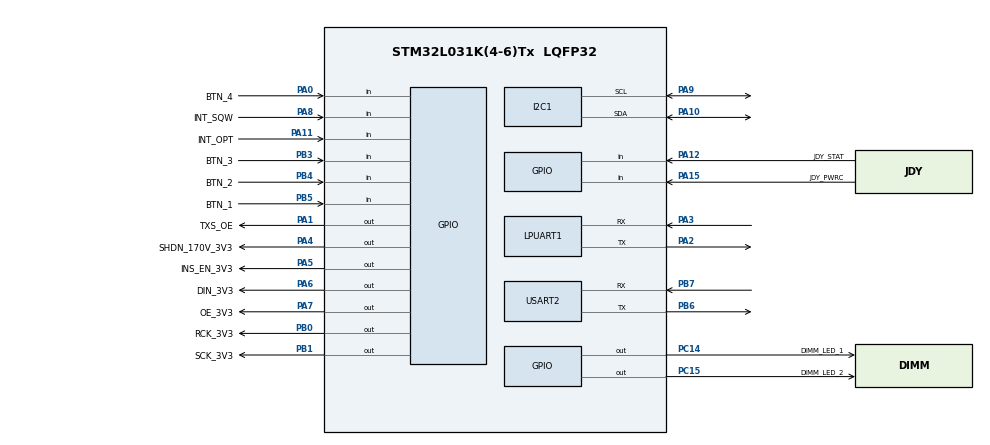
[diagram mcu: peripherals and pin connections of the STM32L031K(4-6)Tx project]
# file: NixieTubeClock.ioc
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Dma.Request0=TIM2_CH1
Dma.Request1=TIM2_CH2
Dma.Request2=TIM2_CH3
Dma.Request3=TIM2_CH4
Dma.TIM2_CH1.0.Direction=DMA_MEMORY_TO_PERIPH
Dma.TIM2_CH1.0.Instance=DMA1_Channel5
Dma.TIM2_CH1.0.MemDataAlignment=DMA_MDATAALIGN_BYTE
Dma.TIM2_CH1.0.MemInc=DMA_MINC_DISABLE
Dma.TIM2_CH1.0.Mode=DMA_CIRCULAR
Dma.TIM2_CH1.0.PeriphDataAlignment=DMA_PDATAALIGN_HALFWORD
Dma.TIM2_CH1.0.PeriphInc=DMA_PINC_DISABLE
Dma.TIM2_CH1.0.Priority=DMA_PRIORITY_LOW
Dma.TIM2_CH2.1.Direction=DMA_MEMORY_TO_PERIPH
Dma.TIM2_CH2.1.Instance=DMA1_Channel3
Dma.TIM2_CH2.1.MemDataAlignment=DMA_MDATAALIGN_BYTE
Dma.TIM2_CH2.1.MemInc=DMA_MINC_DISABLE
Dma.TIM2_CH2.1.Mode=DMA_CIRCULAR
Dma.TIM2_CH2.1.PeriphDataAlignment=DMA_PDATAALIGN_HALFWORD
Dma.TIM2_CH2.1.PeriphInc=DMA_PINC_DISABLE
Dma.TIM2_CH2.1.Priority=DMA_PRIORITY_LOW
Dma.TIM2_CH3.2.Direction=DMA_MEMORY_TO_PERIPH
Dma.TIM2_CH3.2.Instance=DMA1_Channel1
Dma.TIM2_CH3.2.MemDataAlignment=DMA_MDATAALIGN_BYTE
Dma.TIM2_CH3.2.MemInc=DMA_MINC_DISABLE
Dma.TIM2_CH3.2.Mode=DMA_CIRCULAR
Dma.TIM2_CH3.2.PeriphDataAlignment=DMA_PDATAALIGN_HALFWORD
Dma.TIM2_CH3.2.PeriphInc=DMA_PINC_DISABLE
Dma.TIM2_CH3.2.Priority=DMA_PRIORITY_LOW
Dma.TIM2_CH4.3.Direction=DMA_MEMORY_TO_PERIPH
Dma.TIM2_CH4.3.Instance=DMA1_Channel4
Dma.TIM2_CH4.3.MemDataAlignment=DMA_MDATAALIGN_BYTE
Dma.TIM2_CH4.3.MemInc=DMA_MINC_DISABLE
Dma.TIM2_CH4.3.Mode=DMA_CIRCULAR
Dma.TIM2_CH4.3.PeriphDataAlignment=DMA_PDATAALIGN_HALFWORD
Dma.TIM2_CH4.3.PeriphInc=DMA_PINC_DISABLE
Dma.TIM2_CH4.3.Priority=DMA_PRIORITY_LOW
I2C1.Timing=0x00707CBB
Mcu.Family=STM32L0
Mcu.Name=STM32L031K(4-6)Tx
Mcu.Package=LQFP32
NVIC.DMA1_Channel1_IRQn=true\:2\:0\:true\:false\:true\:false\:true\:true
NVIC.DMA1_Channel2_3_IRQn=true\:2\:0\:true\:false\:true\:false\:true\:true
NVIC.DMA1_Channel4_5_6_7_IRQn=true\:2\:0\:true\:false\:true\:false\:true\:true
NVIC.TIM21_IRQn=true\:3\:0\:true\:false\:true\:true\:true\:true
NVIC.TIM2_IRQn=true\:1\:0\:true\:false\:true\:true\:true\:true
PA0-CK_IN.GPIO_Label=BTN_4
PA0-CK_IN.Signal=GPIO_Input
PA1.GPIO_Label=TXS_OE
PA1.GPIO_PuPd=GPIO_PULLUP
PA1.PinState=GPIO_PIN_SET
PA1.Signal=GPIO_Output
PA10.Mode=I2C
PA10.Signal=I2C1_SDA
PA11.GPIO_Label=INT_OPT
PA11.Signal=GPIO_Input
PA12.GPIO_Label=JDY_STAT
PA12.Signal=GPIO_Input
PA13.Mode=Serial_Wire
PA13.Signal=SYS_SWDIO
PA14.Mode=Serial_Wire
PA14.Signal=SYS_SWCLK
PA15.GPIO_Label=JDY_PWRC
PA15.Signal=GPIO_Input
PA2.Mode=Asynchronous
PA2.Signal=LPUART1_TX
PA3.Mode=Asynchronous
PA3.Signal=LPUART1_RX
PA4.GPIO_Label=SHDN_170V_3V3
PA4.GPIO_PuPd=GPIO_PULLDOWN
PA4.PinState=GPIO_PIN_RESET
PA4.Signal=GPIO_Output
PA5.GPIO_Label=INS_EN_3V3
PA5.GPIO_Speed=GPIO_SPEED_FREQ_VERY_HIGH
PA5.Signal=GPIO_Output
PA6.GPIO_Label=DIN_3V3
PA6.GPIO_Speed=GPIO_SPEED_FREQ_VERY_HIGH
PA6.Signal=GPIO_Output
PA7.GPIO_Label=OE_3V3
PA7.GPIO_Speed=GPIO_SPEED_FREQ_VERY_HIGH
PA7.Signal=GPIO_Output
PA8.GPIO_Label=INT_SQW
PA8.Signal=GPIO_Input
PA9.Mode=I2C
PA9.Signal=I2C1_SCL
PB0.GPIO_Label=RCK_3V3
PB0.GPIO_Speed=GPIO_SPEED_FREQ_VERY_HIGH
PB0.Signal=GPIO_Output
PB1.GPIO_Label=SCK_3V3
PB1.GPIO_Speed=GPIO_SPEED_FREQ_VERY_HIGH
PB1.Signal=GPIO_Output
PB3.GPIO_Label=BTN_3
PB3.Signal=GPIO_Input
PB4.GPIO_Label=BTN_2
PB4.Signal=GPIO_Input
PB5.GPIO_Label=BTN_1
PB5.Signal=GPIO_Input
PB6.Mode=Asynchronous
PB6.Signal=USART2_TX
PB7.Mode=Asynchronous
PB7.Signal=USART2_RX
PC14-OSC32_IN.GPIO_Label=DIMM_LED_1
PC14-OSC32_IN.Signal=GPIO_Output
PC15-OSC32_OUT.GPIO_Label=DIMM_LED_2
PC15-OSC32_OUT.Signal=GPIO_Output
ProjectManager.HeapSize=0x200
ProjectManager.StackSize=0x400
ProjectManager.TargetToolchain=STM32CubeIDE
RCC.AHBFreq_Value=32000000
RCC.APB1Freq_Value=32000000
RCC.APB1TimFreq_Value=32000000
RCC.APB2Freq_Value=32000000
RCC.APB2TimFreq_Value=32000000
RCC.HCLKFreq_Value=32000000
RCC.HSE_VALUE=8000000
RCC.HSI16_VALUE=16000000
RCC.HSI_VALUE=16000000
RCC.LSE_VALUE=32768
RCC.MSI_VALUE=2097000
RCC.PLLMUL=RCC_PLLMUL_4
RCC.SYSCLKFreq_VALUE=32000000
RCC.SYSCLKSource=RCC_SYSCLKSOURCE_PLLCLK
RCC.VCOOutputFreq_Value=64000000
TIM2.AutoReloadPreload=TIM_AUTORELOAD_PRELOAD_DISABLE
TIM2.Channel-PWM\ Generation1\ No\ Output=TIM_CHANNEL_1
TIM2.Channel-PWM\ Generation2\ No\ Output=TIM_CHANNEL_2
TIM2.Channel-PWM\ Generation3\ No\ Output=TIM_CHANNEL_3
TIM2.Channel-PWM\ Generation4\ No\ Output=TIM_CHANNEL_4
TIM2.Period=100-1
TIM2.Prescaler=3200-1
TIM21.Period=50-1
TIM21.Prescaler=32000-1
USART2.VirtualMode-Asynchronous=VM_ASYNC
VP_TIM21_VS_ClockSourceINT.Mode=Internal
VP_TIM2_VS_ClockSourceINT.Mode=Internal
VP_TIM2_VS_no_output1.Mode=PWM Generation1 No Output
VP_TIM2_VS_no_output2.Mode=PWM Generation2 No Output
VP_TIM2_VS_no_output3.Mode=PWM Generation3 No Output
VP_TIM2_VS_no_output4.Mode=PWM Generation4 No Output
board=custom

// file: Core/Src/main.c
/* USER CODE BEGIN Header */
/**
 ******************************************************************************
 * @file           : main.c
 * @brief          : Main program body
 ******************************************************************************
 * @attention
 *
 * Copyright (c) 2024 STMicroelectronics.
 * All rights reserved.
 *
 * This software is licensed under terms that can be found in the LICENSE file
 * in the root directory of this software component.
 * If no LICENSE file comes with this software, it is provided AS-IS.
 *
 ******************************************************************************
 */
/* USER CODE END Header */
#include "main.h"

/* USER CODE BEGIN Includes */
#include "nixie_tubes.h"
#include "menu.h"
#include "buttons.h"
#include "settings.h"
#include "temperature_sensor.h"
#include "opt3001.h"
/* USER CODE END Includes */

I2C_HandleTypeDef hi2c1;

UART_HandleTypeDef hlpuart1;
UART_HandleTypeDef huart2;

TIM_HandleTypeDef htim2;
TIM_HandleTypeDef htim21;
DMA_HandleTypeDef hdma_tim2_ch1;
DMA_HandleTypeDef hdma_tim2_ch2;
DMA_HandleTypeDef hdma_tim2_ch3;
DMA_HandleTypeDef hdma_tim2_ch4;

/* USER CODE BEGIN PV */
//extern RTC_TimeTypeDef 	rtc_time;
Buttons_HandleTypeDef 	hbtns;
volatile float t = 0;
volatile float lux = 0;
Button_InitTypeDef btns_list[] = {
		{BTN_1_GPIO_Port, BTN_1_Pin, GPIO_PIN_RESET},
		{BTN_2_GPIO_Port, BTN_2_Pin, GPIO_PIN_RESET},
		{BTN_3_GPIO_Port, BTN_3_Pin, GPIO_PIN_RESET},
};
Setting_TypeDef s_ptr[] = {
// 		Name				Current value	  Default	Delta	  Min		Max				Need to save		  Cyclic change
		{"BRIGHTNESS",				.val = 0, .def = 0, .del = 0, .min = 0, . max = 0, 		.is_need_to_save = 1, .is_change_cyclic = 0},
		{"AMBIENT_LIGHT_SENSOR",	.val = 0, .def = 1, .del = 1, .min = 0, . max = 1, 		.is_need_to_save = 1, .is_change_cyclic = 1},
		{"TEMPERATURE_SENSOR",		.val = 0, .def = 1, .del = 1, .min = 0, . max = 1, 		.is_need_to_save = 1, .is_change_cyclic = 1},
};

//Item_TypeDef nixie_items[NUM_ITEMS] = {
//		[ITEM_DISP_YEAR] 				= {.data_get = (void*)DS3231_GetSecond, .format = "%4d", 		.child = &nixie_items[ITEM_SETTING_DATE_TIME]},
//		[ITEM_DISP_DAY_MONTH] 			= {.data_get = (void*)GetDayMonth, 		.format = "%02d%02d", 	.child = &nixie_items[ITEM_SETTING_DATE_TIME]},
//		[ITEM_DISP_MINUTES_SECONDS] 	= {.data_get = (void*)GetDayMonth, 		.format = "%02d%02d", 	.child = &nixie_items[ITEM_SETTING_DATE_TIME]},
//		[ITEM_DISP_TEMPERATURE] 		= {.data_get = (void*)GetDayMonth, 		.format = "%2.2f", 		.child = &nixie_items[ITEM_SETTING_DATE_TIME]},
//
//		[ITEM_DISP_TEMPERATURE] 		= {.data_get = (void*)GetDayMonth, 		.format = "%2.2f", 		.child = &nixie_items[ITEM_SETTING_DATE_TIME]},
//};
//
//Item_TypeDef* items_main[] = {
//		{.menu = NO_MENU, 	.s_ptr = NULL, 			.numbers = {0, 0}}, 	// "NO_ITEM",
//		//		{.menu = MAIN, 		.s_ptr = NULL, 			.numbers = {0, 5}}, 	// "FW VERSION",
//		//		{.menu = MAIN, 		.s_ptr = NULL, 			.numbers = {22, 05}}, 	// "COMPILE DATE",
//		{.menu = MAIN, 		.s_ptr = NULL, 			.numbers = {20, 25}}, 	// "YEAR",
//		{.menu = MAIN, 		.s_ptr = NULL, 			.numbers = {31, 01}}, 	// "DAY_MONTH",
//		{.menu = MAIN, 		.s_ptr = NULL, 			.numbers = {99, 99}}, 	// "HOURS_MINUTES",
//		{.menu = MAIN, 		.s_ptr = NULL, 			.numbers = {8, 30}}, 	// "MINUTES_SECONDS",
//		{.menu = MAIN, 		.s_ptr = NULL, 			.numbers = {25, 3}},		// Temperature
//		{.menu = SETTINGS, 	.s_ptr = &s_ptr[0], 	.numbers = {1, 3}},
//		{.menu = SETTINGS, 	.s_ptr = &s_ptr[1], 	.numbers = {2, 4}},
//		{.menu = SETTINGS, 	.s_ptr = &s_ptr[2], 	.numbers = {3, 5}},
//		//		item_brightness, // "TUBES BRIGHTNESS ADJUST",
//		//		item_ambient_light_sensor, // "AMBIENT LIGHT SENSOR",
//		//		item_temperature_sensor, // "TEMPERATURE SENSOR",
//		//		{.menu = SETTINGS, 	.s_ptr = NULL, .numbers = {4, 6}}, // "BLUETOOTH",
//};
//uint16_t settings_size = sizeof(s_ptr)/sizeof(s_ptr[0]);
//uint8_t num_of_btns = sizeof(btns_list)/sizeof(btns_list[0]);
//uint8_t num_of_items = sizeof(items_list)/sizeof(items_list[0]);

NixieClock hclock;

/* USER CODE END PV */

void SystemClock_Config(void);
static void MX_GPIO_Init(void);
static void MX_DMA_Init(void);
static void MX_I2C1_Init(void);
static void MX_LPUART1_UART_Init(void);
static void MX_USART2_UART_Init(void);
static void MX_TIM21_Init(void);
static void MX_TIM2_Init(void);

int main(void)
{

  /* MCU Configuration--------------------------------------------------------*/

  /* Reset of all peripherals, Initializes the Flash interface and the Systick. */
  HAL_Init();

  /* Configure the system clock */
  SystemClock_Config();

  /* Initialize all configured peripherals */
  MX_GPIO_Init();
  MX_DMA_Init();
  MX_I2C1_Init();
  MX_LPUART1_UART_Init();
  MX_USART2_UART_Init();
  MX_TIM21_Init();
  MX_TIM2_Init();
  /* USER CODE BEGIN 2 */
	settings_init(s_ptr, 3);
	IN12_init();
	DS3231_Init(&hi2c1);
//	init_menu_items(&hmenu, items_list, NUM_OF_MENUS, NUM_OF_ITEMS);
	btns_init(&hbtns, btns_list, 3, &htim21, PRESSED);
	Tmp75_Init(&hi2c1);
	opt3001_init();

  /* USER CODE END 2 */

  /* Infinite loop */
  /* USER CODE BEGIN WHILE */
	// 7-15 Volts input

	// No need to fix interrupt being called right after the starting timer
	// Here it serve the purpose of updating important variables and setting bits in control registers
	while (1)
	{
		if(logic[current_item][shared_mask][shared_press_type] != NULL) {
			(*logic[current_item][shared_mask][shared_press_type])();
			shared_mask = 0;
			shared_press_type = 0;
		}

    /* USER CODE END WHILE */

	}
}

void SystemClock_Config(void)
{
  LL_FLASH_SetLatency(LL_FLASH_LATENCY_1);
  while(LL_FLASH_GetLatency()!= LL_FLASH_LATENCY_1)
  {
  }
  LL_PWR_SetRegulVoltageScaling(LL_PWR_REGU_VOLTAGE_SCALE1);
  while (LL_PWR_IsActiveFlag_VOS() == 0)
  {
  }
  LL_RCC_HSI_Enable();

   /* Wait till HSI is ready */
  while(LL_RCC_HSI_IsReady() != 1)
  {

  }
  LL_RCC_HSI_SetCalibTrimming(16);
  LL_RCC_PLL_ConfigDomain_SYS(LL_RCC_PLLSOURCE_HSI, LL_RCC_PLL_MUL_4, LL_RCC_PLL_DIV_2);
  LL_RCC_PLL_Enable();

   /* Wait till PLL is ready */
  while(LL_RCC_PLL_IsReady() != 1)
  {

  }
  LL_RCC_SetAHBPrescaler(LL_RCC_SYSCLK_DIV_1);
  LL_RCC_SetAPB1Prescaler(LL_RCC_APB1_DIV_1);
  LL_RCC_SetAPB2Prescaler(LL_RCC_APB2_DIV_1);
  LL_RCC_SetSysClkSource(LL_RCC_SYS_CLKSOURCE_PLL);

   /* Wait till System clock is ready */
  while(LL_RCC_GetSysClkSource() != LL_RCC_SYS_CLKSOURCE_STATUS_PLL)
  {

  }
  LL_SetSystemCoreClock(32000000);

   /* Update the time base */
  if (HAL_InitTick (TICK_INT_PRIORITY) != HAL_OK)
  {
    Error_Handler();
  }
  LL_RCC_SetUSARTClockSource(LL_RCC_USART2_CLKSOURCE_PCLK1);
  LL_RCC_SetLPUARTClockSource(LL_RCC_LPUART1_CLKSOURCE_PCLK1);
  LL_RCC_SetI2CClockSource(LL_RCC_I2C1_CLKSOURCE_PCLK1);
}

static void MX_I2C1_Init(void)
{

  hi2c1.Instance = I2C1;
  hi2c1.Init.Timing = 0x00707CBB;
  hi2c1.Init.OwnAddress1 = 0;
  hi2c1.Init.AddressingMode = I2C_ADDRESSINGMODE_7BIT;
  hi2c1.Init.DualAddressMode = I2C_DUALADDRESS_DISABLE;
  hi2c1.Init.OwnAddress2 = 0;
  hi2c1.Init.OwnAddress2Masks = I2C_OA2_NOMASK;
  hi2c1.Init.GeneralCallMode = I2C_GENERALCALL_DISABLE;
  hi2c1.Init.NoStretchMode = I2C_NOSTRETCH_DISABLE;
  if (HAL_I2C_Init(&hi2c1) != HAL_OK)
  {
    Error_Handler();
  }

  /** Configure Analogue filter
  */
  if (HAL_I2CEx_ConfigAnalogFilter(&hi2c1, I2C_ANALOGFILTER_ENABLE) != HAL_OK)
  {
    Error_Handler();
  }

  /** Configure Digital filter
  */
  if (HAL_I2CEx_ConfigDigitalFilter(&hi2c1, 0) != HAL_OK)
  {
    Error_Handler();
  }

}

static void MX_LPUART1_UART_Init(void)
{

  hlpuart1.Instance = LPUART1;
  hlpuart1.Init.BaudRate = 209700;
  hlpuart1.Init.WordLength = UART_WORDLENGTH_7B;
  hlpuart1.Init.StopBits = UART_STOPBITS_1;
  hlpuart1.Init.Parity = UART_PARITY_NONE;
  hlpuart1.Init.Mode = UART_MODE_TX_RX;
  hlpuart1.Init.HwFlowCtl = UART_HWCONTROL_NONE;
  hlpuart1.Init.OneBitSampling = UART_ONE_BIT_SAMPLE_DISABLE;
  hlpuart1.AdvancedInit.AdvFeatureInit = UART_ADVFEATURE_NO_INIT;
  if (HAL_UART_Init(&hlpuart1) != HAL_OK)
  {
    Error_Handler();
  }

}

static void MX_USART2_UART_Init(void)
{

  huart2.Instance = USART2;
  huart2.Init.BaudRate = 115200;
  huart2.Init.WordLength = UART_WORDLENGTH_8B;
  huart2.Init.StopBits = UART_STOPBITS_1;
  huart2.Init.Parity = UART_PARITY_NONE;
  huart2.Init.Mode = UART_MODE_TX_RX;
  huart2.Init.HwFlowCtl = UART_HWCONTROL_NONE;
  huart2.Init.OverSampling = UART_OVERSAMPLING_16;
  huart2.Init.OneBitSampling = UART_ONE_BIT_SAMPLE_DISABLE;
  huart2.AdvancedInit.AdvFeatureInit = UART_ADVFEATURE_NO_INIT;
  if (HAL_UART_Init(&huart2) != HAL_OK)
  {
    Error_Handler();
  }

}

static void MX_TIM2_Init(void)
{

  TIM_ClockConfigTypeDef sClockSourceConfig = {0};
  TIM_MasterConfigTypeDef sMasterConfig = {0};
  TIM_OC_InitTypeDef sConfigOC = {0};

  htim2.Instance = TIM2;
  htim2.Init.Prescaler = 3200-1;
  htim2.Init.CounterMode = TIM_COUNTERMODE_UP;
  htim2.Init.Period = 100-1;
  htim2.Init.ClockDivision = TIM_CLOCKDIVISION_DIV1;
  htim2.Init.AutoReloadPreload = TIM_AUTORELOAD_PRELOAD_DISABLE;
  if (HAL_TIM_Base_Init(&htim2) != HAL_OK)
  {
    Error_Handler();
  }
  sClockSourceConfig.ClockSource = TIM_CLOCKSOURCE_INTERNAL;
  if (HAL_TIM_ConfigClockSource(&htim2, &sClockSourceConfig) != HAL_OK)
  {
    Error_Handler();
  }
  if (HAL_TIM_PWM_Init(&htim2) != HAL_OK)
  {
    Error_Handler();
  }
  sMasterConfig.MasterOutputTrigger = TIM_TRGO_RESET;
  sMasterConfig.MasterSlaveMode = TIM_MASTERSLAVEMODE_DISABLE;
  if (HAL_TIMEx_MasterConfigSynchronization(&htim2, &sMasterConfig) != HAL_OK)
  {
    Error_Handler();
  }
  sConfigOC.OCMode = TIM_OCMODE_PWM1;
  sConfigOC.Pulse = 0;
  sConfigOC.OCPolarity = TIM_OCPOLARITY_HIGH;
  sConfigOC.OCFastMode = TIM_OCFAST_DISABLE;
  if (HAL_TIM_PWM_ConfigChannel(&htim2, &sConfigOC, TIM_CHANNEL_1) != HAL_OK)
  {
    Error_Handler();
  }
  if (HAL_TIM_PWM_ConfigChannel(&htim2, &sConfigOC, TIM_CHANNEL_2) != HAL_OK)
  {
    Error_Handler();
  }
  if (HAL_TIM_PWM_ConfigChannel(&htim2, &sConfigOC, TIM_CHANNEL_3) != HAL_OK)
  {
    Error_Handler();
  }
  if (HAL_TIM_PWM_ConfigChannel(&htim2, &sConfigOC, TIM_CHANNEL_4) != HAL_OK)
  {
    Error_Handler();
  }

}

static void MX_TIM21_Init(void)
{

  TIM_ClockConfigTypeDef sClockSourceConfig = {0};
  TIM_MasterConfigTypeDef sMasterConfig = {0};

  htim21.Instance = TIM21;
  htim21.Init.Prescaler = 32000-1;
  htim21.Init.CounterMode = TIM_COUNTERMODE_UP;
  htim21.Init.Period = 50-1;
  htim21.Init.ClockDivision = TIM_CLOCKDIVISION_DIV1;
  htim21.Init.AutoReloadPreload = TIM_AUTORELOAD_PRELOAD_DISABLE;
  if (HAL_TIM_Base_Init(&htim21) != HAL_OK)
  {
    Error_Handler();
  }
  sClockSourceConfig.ClockSource = TIM_CLOCKSOURCE_INTERNAL;
  if (HAL_TIM_ConfigClockSource(&htim21, &sClockSourceConfig) != HAL_OK)
  {
    Error_Handler();
  }
  sMasterConfig.MasterOutputTrigger = TIM_TRGO_RESET;
  sMasterConfig.MasterSlaveMode = TIM_MASTERSLAVEMODE_DISABLE;
  if (HAL_TIMEx_MasterConfigSynchronization(&htim21, &sMasterConfig) != HAL_OK)
  {
    Error_Handler();
  }

}

static void MX_DMA_Init(void)
{

  /* DMA controller clock enable */
  __HAL_RCC_DMA1_CLK_ENABLE();

  /* DMA interrupt init */
  /* DMA1_Channel1_IRQn interrupt configuration */
  HAL_NVIC_SetPriority(DMA1_Channel1_IRQn, 2, 0);
  HAL_NVIC_EnableIRQ(DMA1_Channel1_IRQn);
  /* DMA1_Channel2_3_IRQn interrupt configuration */
  HAL_NVIC_SetPriority(DMA1_Channel2_3_IRQn, 2, 0);
  HAL_NVIC_EnableIRQ(DMA1_Channel2_3_IRQn);
  /* DMA1_Channel4_5_6_7_IRQn interrupt configuration */
  HAL_NVIC_SetPriority(DMA1_Channel4_5_6_7_IRQn, 2, 0);
  HAL_NVIC_EnableIRQ(DMA1_Channel4_5_6_7_IRQn);

}

static void MX_GPIO_Init(void)
{
  GPIO_InitTypeDef GPIO_InitStruct = {0};

  /* GPIO Ports Clock Enable */
  __HAL_RCC_GPIOC_CLK_ENABLE();
  __HAL_RCC_GPIOA_CLK_ENABLE();
  __HAL_RCC_GPIOB_CLK_ENABLE();

  /*Configure GPIO pin Output Level */
  HAL_GPIO_WritePin(GPIOC, DIMM_LED_1_Pin|DIMM_LED_2_Pin, GPIO_PIN_RESET);

  /*Configure GPIO pin Output Level */
  HAL_GPIO_WritePin(TXS_OE_GPIO_Port, TXS_OE_Pin, GPIO_PIN_SET);

  /*Configure GPIO pin Output Level */
  HAL_GPIO_WritePin(GPIOA, SHDN_170V_3V3_Pin|INS_EN_3V3_Pin|DIN_3V3_Pin|OE_3V3_Pin, GPIO_PIN_RESET);

  /*Configure GPIO pin Output Level */
  HAL_GPIO_WritePin(GPIOB, RCK_3V3_Pin|SCK_3V3_Pin, GPIO_PIN_RESET);

  /*Configure GPIO pins : DIMM_LED_1_Pin DIMM_LED_2_Pin */
  GPIO_InitStruct.Pin = DIMM_LED_1_Pin|DIMM_LED_2_Pin;
  GPIO_InitStruct.Mode = GPIO_MODE_OUTPUT_PP;
  GPIO_InitStruct.Pull = GPIO_NOPULL;
  GPIO_InitStruct.Speed = GPIO_SPEED_FREQ_LOW;
  HAL_GPIO_Init(GPIOC, &GPIO_InitStruct);

  /*Configure GPIO pins : BTN_4_Pin INT_SQW_Pin INT_OPT_Pin JDY_STAT_Pin
                           JDY_PWRC_Pin */
  GPIO_InitStruct.Pin = BTN_4_Pin|INT_SQW_Pin|INT_OPT_Pin|JDY_STAT_Pin
                          |JDY_PWRC_Pin;
  GPIO_InitStruct.Mode = GPIO_MODE_INPUT;
  GPIO_InitStruct.Pull = GPIO_NOPULL;
  HAL_GPIO_Init(GPIOA, &GPIO_InitStruct);

  /*Configure GPIO pin : TXS_OE_Pin */
  GPIO_InitStruct.Pin = TXS_OE_Pin;
  GPIO_InitStruct.Mode = GPIO_MODE_OUTPUT_PP;
  GPIO_InitStruct.Pull = GPIO_PULLUP;
  GPIO_InitStruct.Speed = GPIO_SPEED_FREQ_LOW;
  HAL_GPIO_Init(TXS_OE_GPIO_Port, &GPIO_InitStruct);

  /*Configure GPIO pin : SHDN_170V_3V3_Pin */
  GPIO_InitStruct.Pin = SHDN_170V_3V3_Pin;
  GPIO_InitStruct.Mode = GPIO_MODE_OUTPUT_PP;
  GPIO_InitStruct.Pull = GPIO_PULLDOWN;
  GPIO_InitStruct.Speed = GPIO_SPEED_FREQ_LOW;
  HAL_GPIO_Init(SHDN_170V_3V3_GPIO_Port, &GPIO_InitStruct);

  /*Configure GPIO pins : INS_EN_3V3_Pin DIN_3V3_Pin OE_3V3_Pin */
  GPIO_InitStruct.Pin = INS_EN_3V3_Pin|DIN_3V3_Pin|OE_3V3_Pin;
  GPIO_InitStruct.Mode = GPIO_MODE_OUTPUT_PP;
  GPIO_InitStruct.Pull = GPIO_NOPULL;
  GPIO_InitStruct.Speed = GPIO_SPEED_FREQ_VERY_HIGH;
  HAL_GPIO_Init(GPIOA, &GPIO_InitStruct);

  /*Configure GPIO pins : RCK_3V3_Pin SCK_3V3_Pin */
  GPIO_InitStruct.Pin = RCK_3V3_Pin|SCK_3V3_Pin;
  GPIO_InitStruct.Mode = GPIO_MODE_OUTPUT_PP;
  GPIO_InitStruct.Pull = GPIO_NOPULL;
  GPIO_InitStruct.Speed = GPIO_SPEED_FREQ_VERY_HIGH;
  HAL_GPIO_Init(GPIOB, &GPIO_InitStruct);

  /*Configure GPIO pins : BTN_3_Pin BTN_2_Pin BTN_1_Pin */
  GPIO_InitStruct.Pin = BTN_3_Pin|BTN_2_Pin|BTN_1_Pin;
  GPIO_InitStruct.Mode = GPIO_MODE_INPUT;
  GPIO_InitStruct.Pull = GPIO_NOPULL;
  HAL_GPIO_Init(GPIOB, &GPIO_InitStruct);

}

void Error_Handler(void)
{
	__disable_irq();
	while (1)
	{
	}
}
